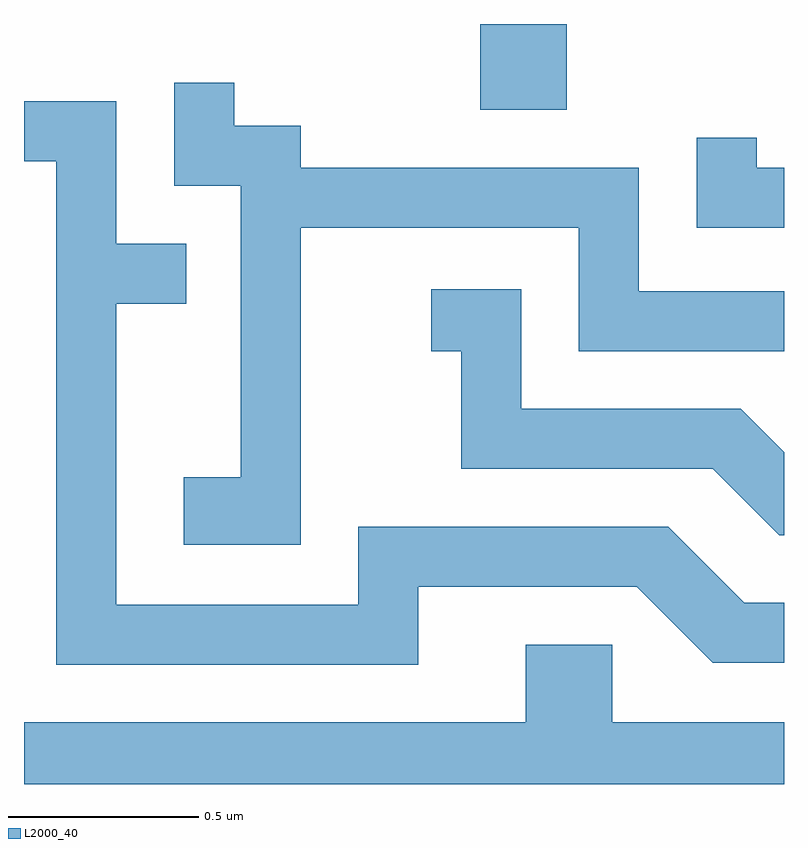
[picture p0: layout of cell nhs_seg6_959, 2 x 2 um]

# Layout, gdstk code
import gdstk
lib = gdstk.Library(unit=1e-6, precision=1e-09)
def R(c, l, rs):  # rectangles x0, y0, x1, y1
    for r in rs: c.add(gdstk.rectangle(r[:2], r[2:], *l))
def P(c, l, *ps):  # polygons
    for p in ps: c.add(gdstk.Polygon(p, *l))
L2000_40 = (2000, 40)

nhs_seg6_959 = lib.new_cell('nhs_seg6_959')
R(nhs_seg6_959, L2000_40, [(193.811,1531.936,194.039,1532.162)])
P(nhs_seg6_959, L2000_40, [(193.339,1531.626),(194.071,1531.626),(194.071,1531.301),(194.611,1531.301),(194.611,1531.459),(194.229,1531.459),(194.229,1531.784),(193.339,1531.784),(193.339,1531.894),(193.164,1531.894),(193.164,1532.008),(193.006,1532.008),(193.006,1531.736),(193.181,1531.736),(193.181,1530.969),(193.031,1530.969),(193.031,1530.791),(193.339,1530.791)],
  [(193.649,1530.681),(194.224,1530.681),(194.424,1530.481),(194.611,1530.481),(194.611,1530.639),(194.507,1530.639),(194.307,1530.839),(193.491,1530.839),(193.491,1530.634),(192.854,1530.634),(192.854,1531.426),(193.038,1531.426),(193.038,1531.584),(192.854,1531.584),(192.854,1531.959),(192.611,1531.959),(192.611,1531.801),(192.696,1531.801),(192.696,1530.476),(193.649,1530.476)],
  [(194.611,1531.784),(194.539,1531.784),(194.539,1531.863),(194.381,1531.863),(194.381,1531.626),(194.611,1531.626)],
  [(194.611,1531.035),(194.497,1531.149),(193.919,1531.149),(193.919,1531.464),(193.683,1531.464),(193.683,1531.301),(193.761,1531.301),(193.761,1530.991),(194.424,1530.991),(194.599,1530.816),(194.611,1530.816)],
  [(194.611,1530.324),(194.159,1530.324),(194.159,1530.529),(193.931,1530.529),(193.931,1530.324),(192.611,1530.324),(192.611,1530.162),(194.611,1530.162)])

lib.write_gds('nhs_seg6_959.gds')
